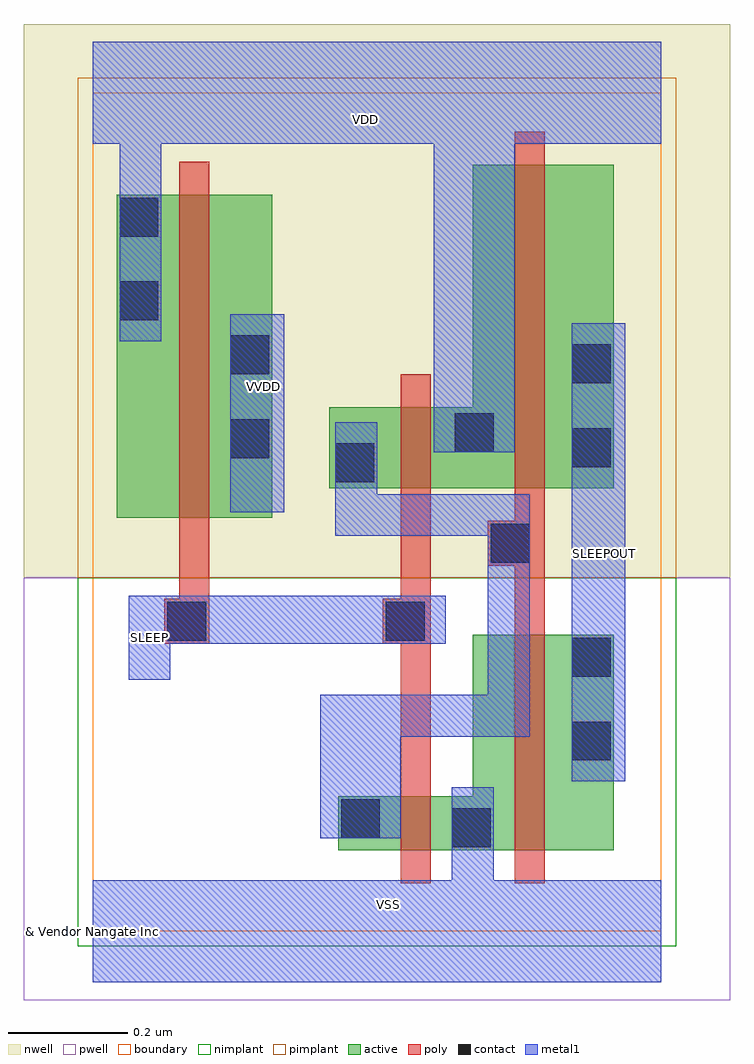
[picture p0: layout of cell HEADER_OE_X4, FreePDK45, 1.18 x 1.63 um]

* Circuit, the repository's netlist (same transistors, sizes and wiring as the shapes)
* 
* ******************************************************************************
* *                                                                            *
* *                   Copyright (C) 2004-2011, Nangate Inc.                    *
* *                           All rights reserved.                             *
* *                                                                            *
* * Nangate and the Nangate logo are trademarks of Nangate Inc.                *
* *                                                                            *
* * All trademarks, logos, software marks, and trade names (collectively the   *
* * "Marks") in this program are proprietary to Nangate or other respective    *
* * owners that have granted Nangate the right and license to use such Marks.  *
* * You are not permitted to use the Marks without the prior written consent   *
* * of Nangate or such third party that may own the Marks.                     *
* *                                                                            *
* * This file has been provided pursuant to a License Agreement containing     *
* * restrictions on its use. This file contains valuable trade secrets and     *
* * proprietary information of Nangate Inc., and is protected by U.S. and      *
* * international laws and/or treaties.                                        *
* *                                                                            *
* * The copyright notice(s) in this file does not indicate actual or intended  *
* * publication of this file.                                                  *
* *                                                                            *
* *     NGLibraryCreator, v2010.08-HR32-SP3-2010-08-05 - build 1009061800      *
* *                                                                            *
* ******************************************************************************
* 
* 
* Running on server08.nangate.com for user Giancarlo Franciscatto (gfr).
* Local time is now Thu, 6 Jan 2011, 19:45:44.
* Main process id is 3320.
*
********************************************************************************
*                                                                              *
* Cellname:   HEADER_OE_X4.                                                    *
*                                                                              *
* Technology: NCSU FreePDK 45nm.                                               *
* Format:     Cdl.                                                             *
*                                                                              *
* Written on server08.nangate.com for user Giancarlo Franciscatto (gfr)        *
* at 19:45:44 on Thu, 6 Jan 2011.                                              *
*                                                                              *
********************************************************************************
.SUBCKT HEADER_OE_X4 SLEEP SLEEPOUT VDD VSS VVDD 
*.PININFO SLEEP:I SLEEPOUT:O VDD:P VSS:G VVDD:P 
*.EQN SLEEPOUT=SLEEP
M_i_0 VSS SLEEP net_000 VSS NMOS_VTL W=0.090000U L=0.050000U
M_i_7 SLEEPOUT net_000 VSS VSS NMOS_VTL W=0.360000U L=0.050000U
M_i_14 VVDD SLEEP VDD VDD PMOS_VTL W=0.540000U L=0.050000U
M_i_21 VDD SLEEP net_000 VDD PMOS_VTL W=0.135000U L=0.050000U
M_i_28 SLEEPOUT net_000 VDD VDD PMOS_VTL W=0.540000U L=0.050000U
.ENDS 

********************************************************************************
*
* END
*
********************************************************************************

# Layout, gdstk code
import gdstk
lib = gdstk.Library(unit=1e-6, precision=1e-10)
def R(c, l, rs):  # rectangles x0, y0, x1, y1
    for r in rs: c.add(gdstk.rectangle(r[:2], r[2:], *l))
def P(c, l, *ps):  # polygons
    for p in ps: c.add(gdstk.Polygon(p, *l))
active = (1, 0)
pwell = (2, 0)
nwell = (3, 0)
nimplant = (4, 0)
pimplant = (5, 0)
poly = (9, 0)
contact = (10, 0)
metal1 = (11, 0)
boundary = (235, 0)

header_oe_x4 = lib.new_cell('HEADER_OE_X4')
R(header_oe_x4, active, [(0.04,0.69,0.3,1.23)])
P(header_oe_x4, active, [(0.41,0.135),(0.87,0.135),(0.87,0.495),(0.635,0.495),(0.635,0.225),(0.41,0.225)],
  [(0.395,0.74),(0.87,0.74),(0.87,1.28),(0.635,1.28),(0.635,0.875),(0.395,0.875)])
R(header_oe_x4, pwell, [(-0.115,-0.115,1.065,0.59)])
R(header_oe_x4, nwell, [(-0.115,0.59,1.065,1.515)])
R(header_oe_x4, nimplant, [(-0.025,-0.025,0.975,0.59)])
R(header_oe_x4, pimplant, [(-0.025,0.59,0.975,1.425)])
P(header_oe_x4, poly, [(0.12,0.48),(0.195,0.48),(0.195,1.285),(0.145,1.285),(0.145,0.555),(0.12,0.555)],
  [(0.485,0.48),(0.515,0.48),(0.515,0.08),(0.565,0.08),(0.565,0.93),(0.515,0.93),(0.515,0.555),(0.485,0.555)],
  [(0.66,0.61),(0.705,0.61),(0.705,0.08),(0.755,0.08),(0.755,1.335),(0.705,1.335),(0.705,0.685),(0.66,0.685)])
R(header_oe_x4, contact, [(0.6,0.14,0.665,0.205), (0.415,0.155,0.48,0.22), (0.8,0.285,0.865,0.35), (0.8,0.425,0.865,0.49), (0.125,0.485,0.19,0.55), (0.49,0.485,0.555,0.55), (0.665,0.615,0.73,0.68), (0.405,0.75,0.47,0.815), (0.8,0.775,0.865,0.84), (0.23,0.79,0.295,0.855), (0.605,0.8,0.67,0.865), (0.8,0.915,0.865,0.98), (0.23,0.93,0.295,0.995), (0.045,1.02,0.11,1.085), (0.045,1.16,0.11,1.225)])
R(header_oe_x4, metal1, [(0.8,0.25,0.89,1.015), (0.23,0.7,0.32,1.03)])
P(header_oe_x4, metal1, [(0,-0.085),(0.95,-0.085),(0.95,0.085),(0.67,0.085),(0.67,0.24),(0.6,0.24),(0.6,0.085),(0,0.085)],
  [(0,1.315),(0.045,1.315),(0.045,0.985),(0.115,0.985),(0.115,1.315),(0.57,1.315),(0.57,0.8),(0.705,0.8),(0.705,1.315),(0.95,1.315),(0.95,1.485),(0,1.485)],
  [(0.06,0.42),(0.13,0.42),(0.13,0.48),(0.59,0.48),(0.59,0.56),(0.06,0.56)],
  [(0.405,0.66),(0.66,0.66),(0.66,0.395),(0.38,0.395),(0.38,0.155),(0.515,0.155),(0.515,0.325),(0.73,0.325),(0.73,0.73),(0.475,0.73),(0.475,0.85),(0.405,0.85)])
R(header_oe_x4, boundary, [(0,0,0.95,1.4)])
header_oe_x4.add(gdstk.Label('VDD', (0.455,1.355), layer=11, texttype=0))
header_oe_x4.add(gdstk.Label('VSS', (0.495,0.045), layer=11, texttype=0))
header_oe_x4.add(gdstk.Label('SLEEP', (0.095,0.49), layer=11, texttype=0))
header_oe_x4.add(gdstk.Label('VVDD', (0.285,0.91), layer=11, texttype=0))
header_oe_x4.add(gdstk.Label('SLEEPOUT', (0.855,0.63), layer=11, texttype=0))
header_oe_x4.add(gdstk.Label('& Vendor Nangate Inc', (0,0), layer=63, texttype=63))
header_oe_x4.add(gdstk.Label('& Product Open Cell Library', (0,0), layer=63, texttype=63))
header_oe_x4.add(gdstk.Label('& Version 2010_12', (0,0), layer=63, texttype=63))
header_oe_x4.add(gdstk.Label('& Instance HEADER_OE_X4', (0,0), layer=63, texttype=63))

lib.write_gds('HEADER_OE_X4.gds')
